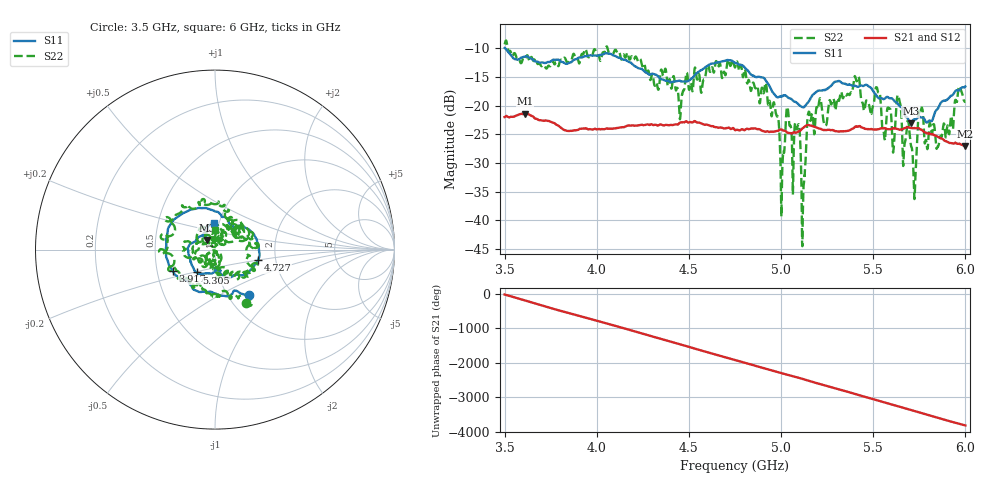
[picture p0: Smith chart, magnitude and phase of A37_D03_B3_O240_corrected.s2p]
! Created with skrf 1.9.0 (http://scikit-rf.org).
# Hz S RI R 50.0
!freq ReS11 ImS11 ReS21 ImS21 ReS12 ImS12 ReS22 ImS22
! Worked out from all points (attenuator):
!   1601 points, 3.5 GHz to 6 GHz, reference 50 ohm
!   highest |S21| = -21.41 dB at 3.611 GHz (marker M1); lowest = -27.0 dB at 6 GHz (marker M2)
!   lowest |S11| = -23.1 dB at 5.703 GHz (marker M3), VSWR 1.15, Z = 45.4 + j4.86 ohm
!   |S11| at or under -10 dB: 3.503 GHz to end of sweep
!   |S22| runs from -44.5 to -8.6 dB; largest |S21 - S12| = 0.00094
!   S11 on the Smith chart (normalised r, x): 3.5 GHz: 1.25, -0.71; 3.917 GHz: 0.61, -0.16; 4.727 GHz: 1.62, -0.20; 5.305 GHz: 0.79, -0.21; 6 GHz: 0.95, +0.28
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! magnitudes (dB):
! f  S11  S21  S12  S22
! 3.5 GHz  -9.9  -22.0  -22.0  -9.3
! 3.611 GHz  -11.4  -21.4  -21.4  -11.8
! 3.917 GHz  -11.6  -24.0  -24.0  -11.0
! 4.334 GHz  -15.0  -23.5  -23.4  -17.2
! 4.455 GHz  -15.7  -22.9  -22.9  -21.5
! 4.727 GHz  -12.1  -24.1  -24.0  -13.0
! 4.75 GHz  -12.5  -24.3  -24.2  -13.3
! 4.969 GHz  -18.2  -24.5  -24.4  -20.9
! 5.006 GHz  -18.4  -24.2  -24.2  -31.3
! 5.034 GHz  -18.5  -24.7  -24.6  -20.2
! 5.088 GHz  -19.6  -24.6  -24.6  -23.9
! 5.12 GHz  -20.3  -23.9  -23.8  -35.7
! 5.145 GHz  -19.5  -23.4  -23.3  -21.6
! 5.167 GHz  -18.3  -23.5  -23.5  -21.4
! 5.305 GHz  -15.8  -24.5  -24.4  -18.8
! 5.411 GHz  -16.7  -23.6  -23.6  -15.6
! 5.584 GHz  -18.6  -24.1  -24.1  -20.4
! 5.703 GHz  -23.1  -23.9  -23.9  -26.6
! 5.723 GHz  -22.4  -23.9  -23.9  -36.3
! 5.756 GHz  -22.0  -24.1  -24.1  -21.2
! 5.852 GHz  -20.4  -25.5  -25.4  -27.1
! 6 GHz  -16.7  -27.0  -27.0  -19.4
